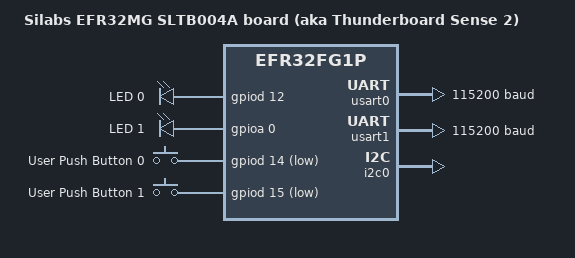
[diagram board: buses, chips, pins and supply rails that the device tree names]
/*
 * Copyright (c) 2018 Diego Sueiro
 *
 * SPDX-License-Identifier: Apache-2.0
 */

/dts-v1/;
#include <silabs/efr32fg1p133f256gm48.dtsi>

/ {
	model = "Silabs EFR32MG SLTB004A board (aka Thunderboard Sense 2)";
	compatible = "silabs,efr32_feather", "silabs,efr32fg1p";

	aliases {
		led0 = &led0;
		led1 = &led1;
		sw0 = &button0;
		sw1 = &button1;
	};

	chosen {
		zephyr,console = &usart0;
		zephyr,shell-uart = &usart0;
		zephyr,sram = &sram0;
		zephyr,flash = &flash0;
	};

	leds {
		compatible = "gpio-leds";
		led0: led_0 {
			gpios = <&gpiod 12 0>;
			label = "LED 0";
		};
		led1: led_1 {
			gpios = <&gpioa 0 0>;
			label = "LED 1";
		};
	};

	buttons {
		compatible = "gpio-keys";
		button0: button_0 {
			/* gpio flags need validation */
			gpios = <&gpiod 14 GPIO_INT_ACTIVE_LOW>;
			label = "User Push Button 0";
		};
		button1: button_1 {
			/* gpio flags need validation */
			gpios = <&gpiod 15 GPIO_INT_ACTIVE_LOW>;
			label = "User Push Button 1";
		};
	};
};

&usart0 {
	current-speed = <115200>;
	location-rx = <GECKO_LOCATION(26) GECKO_PORT_F GECKO_PIN(3)>;
	location-tx = <GECKO_LOCATION(26) GECKO_PORT_F GECKO_PIN(2)>;
	status = "ok";
};

&usart1 {
	current-speed = <115200>;
	location-rx = <GECKO_LOCATION(27) GECKO_PORT_F GECKO_PIN(4)>;
	location-tx = <GECKO_LOCATION(29) GECKO_PORT_F GECKO_PIN(5)>;
	status = "ok";
};

&i2c0 {
	location-sda = <GECKO_LOCATION(18) GECKO_PORT_D GECKO_PIN(10)>;
	location-scl = <GECKO_LOCATION(18) GECKO_PORT_D GECKO_PIN(11)>;
	status = "ok";
};

&gpio {
	location-swo = <0>;
	status = "ok";
};
